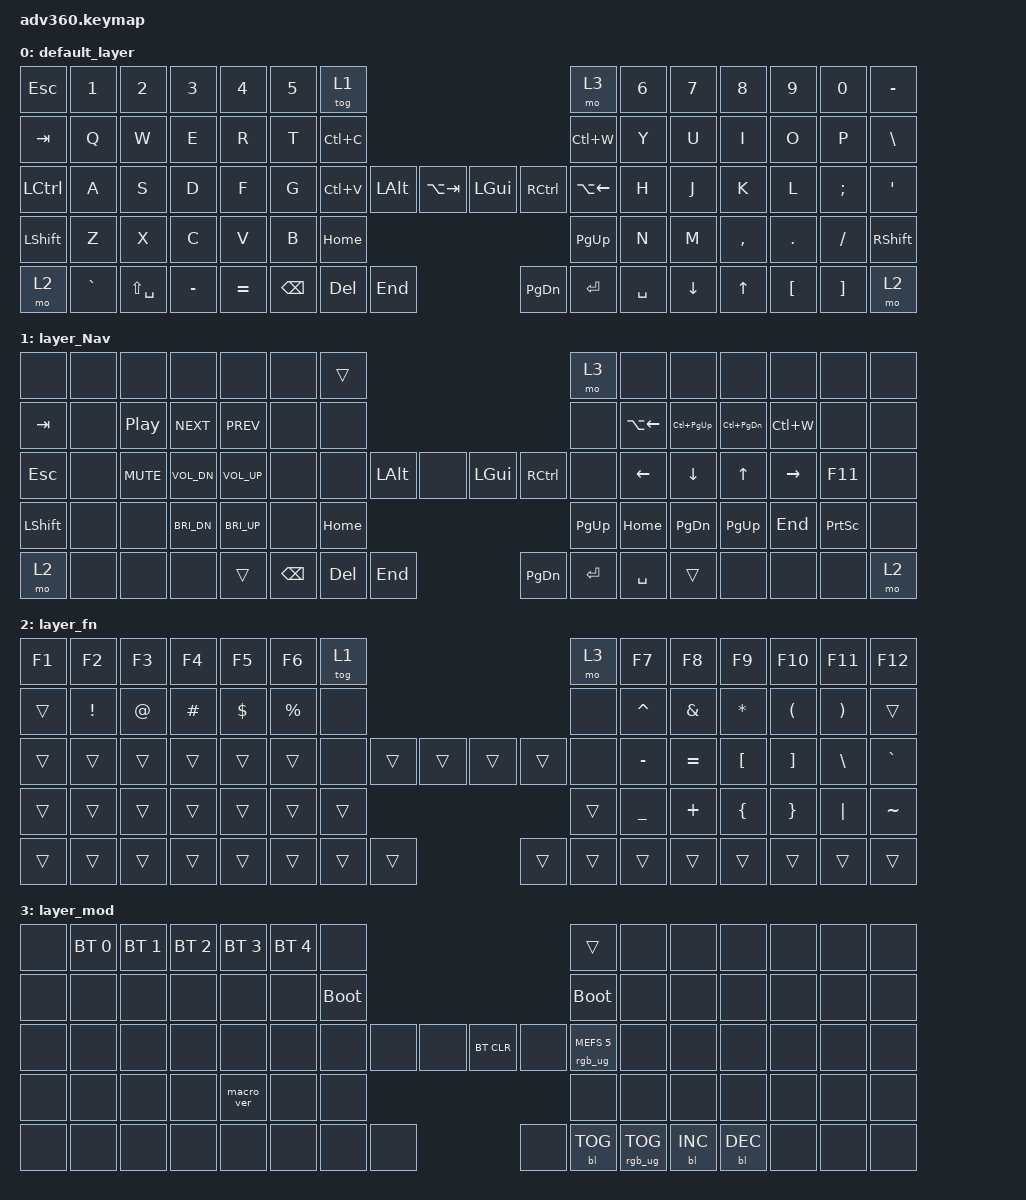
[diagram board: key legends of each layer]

/*
 * Copyright (c) 2020 The ZMK Contributors
 *
 * SPDX-License-Identifier: MIT
 */


/* THIS FILE WAS GENERATED!
 *
 * This file was generated automatically. You may or may not want to
 * edit it directly.
 */

#include <behaviors.dtsi>
#include <dt-bindings/zmk/keys.h>
#include <dt-bindings/zmk/bt.h>
#include <dt-bindings/zmk/rgb.h>
#include <dt-bindings/zmk/backlight.h>

/ {
  behaviors {
    #include "macros.dtsi"
    #include "version.dtsi"

    hm: homerow_mods {
        compatible = "zmk,behavior-hold-tap";
        label = "HOMEROW_MODS";
        #binding-cells = <2>;
        tapping-term-ms = <200>;
        quick_tap_ms = <175>;
        flavor = "tap-preferred";
        bindings = <&kp>, <&kp>;
    };
  };

    keymap {
        compatible = "zmk,keymap";


        default_layer {
            bindings = <
          &kp ESC     &kp N1         &kp N2     &kp N3     &kp N4  &kp N5                   &tog 1                                                                          &mo 3  &kp N6          &kp N7        &kp N8    &kp N9         &kp N0  &kp MINUS
          &kp TAB      &kp Q          &kp W      &kp E      &kp R   &kp T                &kp LC(C)                                                                      &kp LC(W)   &kp Y           &kp U         &kp I     &kp O          &kp P   &kp BSLH
 &kp LEFT_CONTROL      &kp A          &kp S      &kp D      &kp F   &kp G                &kp LC(V)  &kp LEFT_ALT  &kp LA(TAB)                   &kp LGUI  &kp RCTRL  &kp LA(LEFT)   &kp H           &kp J         &kp K     &kp L  &kp SEMICOLON    &kp SQT
        &kp LSHFT      &kp Z          &kp X      &kp C      &kp V   &kp B                                            &kp HOME                  &kp PG_UP                            &kp N           &kp M     &kp COMMA   &kp DOT       &kp FSLH  &kp RSHFT
            &mo 2  &kp GRAVE  &kp LS(SPACE)  &kp MINUS  &kp EQUAL                    &kp BACKSPACE       &kp DEL      &kp END                  &kp PG_DN  &kp ENTER     &kp SPACE          &kp DOWN_ARROW  &kp UP_ARROW  &kp LBKT       &kp RBKT      &mo 2
            >;
        };

        layer_Nav {
            bindings = <
     &none   &none       &none         &none         &none   &none                   &trans                                                                    &mo 3               &none            &none              &none            &none      &none   &none
   &kp TAB   &none    &kp C_PP    &kp C_NEXT    &kp C_PREV   &none                    &none                                                                    &none  &kp LA(LEFT_ARROW)  &kp LC(PAGE_UP)  &kp LC(PAGE_DOWN)        &kp LC(W)      &none   &none
   &kp ESC   &none  &kp C_MUTE  &kp C_VOL_DN  &kp C_VOL_UP   &none                    &none  &kp LEFT_ALT     &none                   &kp LGUI  &kp RCTRL      &none      &kp LEFT_ARROW   &kp DOWN_ARROW       &kp UP_ARROW  &kp RIGHT_ARROW    &kp F11   &none
 &kp LSHFT   &none       &none  &kp C_BRI_DN  &kp C_BRI_UP   &none                                         &kp HOME                  &kp PG_UP                                  &kp HOME    &kp PAGE_DOWN          &kp PG_UP          &kp END  &kp PSCRN   &none
     &mo 2   &none       &none         &none        &trans                    &kp BACKSPACE       &kp DEL   &kp END                  &kp PG_DN  &kp ENTER  &kp SPACE                               &trans              &none            &none      &none   &mo 2
            >;
        };

        layer_fn {
            bindings = <
 &kp F1           &kp F2  &kp F3    &kp F4      &kp F5       &kp F6            &tog 1                                                   &mo 3          &kp F7     &kp F8            &kp F9               &kp F10                &kp F11    &kp F12
 &trans  &kp EXCLAMATION  &kp AT  &kp HASH  &kp DOLLAR  &kp PERCENT             &none                                                   &none       &kp CARET   &kp AMPS      &kp ASTERISK  &kp LEFT_PARENTHESIS  &kp RIGHT_PARENTHESIS     &trans
 &trans           &trans  &trans    &trans      &trans       &trans             &none  &trans  &trans                  &trans  &trans   &none       &kp MINUS  &kp EQUAL  &kp LEFT_BRACKET     &kp RIGHT_BRACKET          &kp BACKSLASH  &kp GRAVE
 &trans           &trans  &trans    &trans      &trans       &trans                            &trans                  &trans                  &kp UNDERSCORE   &kp PLUS    &kp LEFT_BRACE       &kp RIGHT_BRACE               &kp PIPE  &kp TILDE
 &trans           &trans  &trans    &trans      &trans                         &trans  &trans  &trans                  &trans  &trans  &trans                     &trans            &trans                &trans                 &trans     &trans
            >;
        };

        layer_mod {
            bindings = <
  &none  &bt BT_SEL 0  &bt BT_SEL 1  &bt BT_SEL 2  &bt BT_SEL 3  &bt BT_SEL 4                  &none                                                                          &trans   &none       &none       &none   &none   &none   &none
  &none         &none         &none         &none         &none         &none            &bootloader                                                                     &bootloader   &none       &none       &none   &none   &none   &none
  &none         &none         &none         &none         &none         &none                  &none   &none   &none                  &bt BT_CLR       &none  &rgb_ug RGB_MEFS_CMD 5   &none       &none       &none   &none   &none   &none
  &none         &none         &none         &none    &macro_ver         &none                                  &none                       &none                                       &none       &none       &none   &none   &none   &none
  &none         &none         &none         &none         &none                                &none   &none   &none                       &none  &bl BL_TOG         &rgb_ug RGB_TOG          &bl BL_INC  &bl BL_DEC   &none   &none   &none
            >;
        };

    };
};
